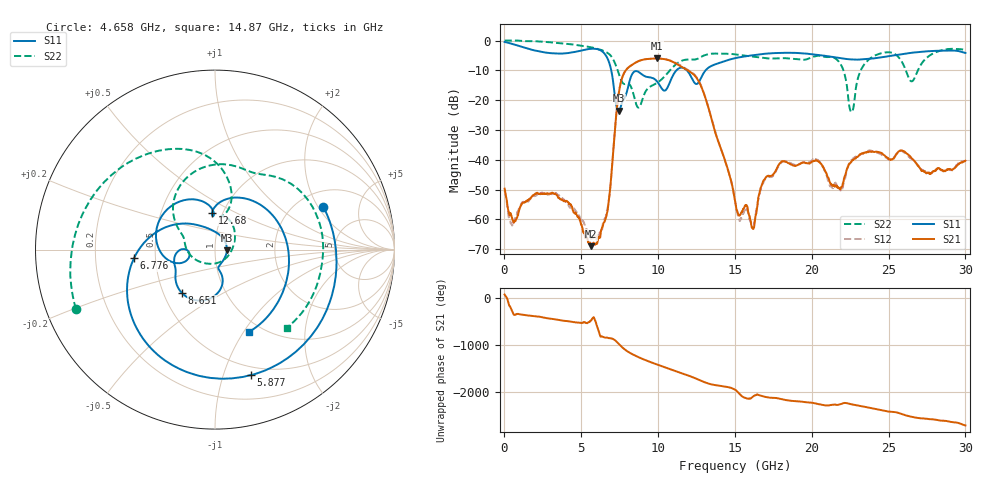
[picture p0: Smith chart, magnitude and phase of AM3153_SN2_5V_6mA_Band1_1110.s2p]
!Agilent Technologies,E8364B,MY43040894,A.07.50.67
!Agilent E8364B: A.07.50.67
!Date: Tuesday, May 12, 2020 09:47:32
!Correction: S11(Full 2 Port(1,2))
!S21(Full 2 Port(1,2))
!S12(Full 2 Port(1,2))
!S22(Full 2 Port(1,2))
!S2P File: Measurements: S11, S21, S12, S22:
# Hz S  dB  R 50
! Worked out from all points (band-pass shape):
!   1601 points, 10 MHz to 30 GHz, reference 50 ohm
!   highest |S21| = -6.03 dB at 9.925 GHz (marker M1); lowest = -69.0 dB at 5.633 GHz (marker M2)
!   |S21| within 3 dB of the highest: 8.074 GHz to 11.6 GHz (3.523 GHz wide, 35.8 % of centre)
!   lowest |S11| = -23.6 dB at 7.433 GHz (marker M3), VSWR 1.14, Z = 57.1 - j0.447 ohm
!   |S11| at or under -10 dB: 6.95 GHz to 11.2 GHz (4.245 GHz wide, 46.8 % of centre); 11.87 GHz to 13.09 GHz (1.224 GHz wide, 9.81 % of centre)
!   |S22| runs from -24.0 to 0.0 dB; largest |S21 - S12| = 0.011
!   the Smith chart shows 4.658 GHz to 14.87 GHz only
!   S11 on the Smith chart (normalised r, x): 4.658 GHz: 2.69, +2.24; 5.877 GHz: 0.42, -1.24; 6.776 GHz: 0.38, -0.05; 8.651 GHz: 0.62, -0.33; 12.68 GHz: 0.89, +0.38; 14.87 GHz: 0.87, -1.06
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1e7  -0.49 -6.8  -49.73 74.0  -50.42 32.6  -0.00 -1.8
8.909562e8  -1.74 -83.5  -58.58 23.7  -57.25 23.2  -0.04 -30.2
2.034325e9  -3.43 -168.0  -51.36 -29.5  -51.94 -35.3  -0.24 -68.9
4.65845e9  -3.75 21.7  -58.07 -156.5  -57.58 -163.9  -1.49 -156.9
5.014581e9  -3.37 -4.2  -61.75 -167.8  -60.75 -172.1  -1.73 -169.6
5.633125e9  -2.78 -53.0  -69.01 -115.1  -66.57 119.7  -2.28 167.2
5.876794e9  -2.77 -74.2  -68.16 -99.8  -65.39 -143.6  -2.55 157.5
6.776494e9  -6.86 -173.9  -54.74 -130.0  -54.07 -134.0  -4.41 111.1
7.432525e9  -23.60 -3.4  -17.93 109.6  -17.87 109.5  -10.98 71.4
8.650869e9  -10.35 -127.4  -7.10 -163.2  -7.08 -163.1  -22.28 -39.8
9.925444e9  -13.68 -177.2  -6.03 30.6  -6.03 31.1  -14.26 157.1
1.001916e10  -14.33 -179.9  -6.04 19.5  -6.03 20.0  -13.93 155.6
1.268078e10  -13.71 94.5  -14.04 60.8  -13.84 59.8  -5.85 54.1
1.487379e10  -6.08 -67.4  -49.92 -121.3  -49.52 -121.7  -4.56 -47.3
1.5005e10  -5.93 -74.3  -53.54 -141.5  -53.59 -146.4  -4.64 -53.2
1.616711e10  -4.96 -124.0  -63.15 66.8  -61.85 54.0  -5.37 -103.1
1.806023e10  -4.16 169.5  -40.53 14.9  -40.75 16.6  -5.92 179.7
2.000958e10  -4.59 100.9  -40.71 -61.0  -40.23 -62.3  -5.62 46.7
2.13029e10  -5.49 46.7  -48.34 -105.6  -49.07 -112.6  -5.51 -74.2
2.259622e10  -6.35 -17.0  -40.50 -95.3  -40.05 -93.2  -24.00 -111.6
2.501416e10  -5.25 -132.3  -39.83 111.6  -39.81 115.3  -3.95 -179.5
3e10  -4.17 81.2  -40.33 177.1  -40.52 178.2  -3.11 94.8
